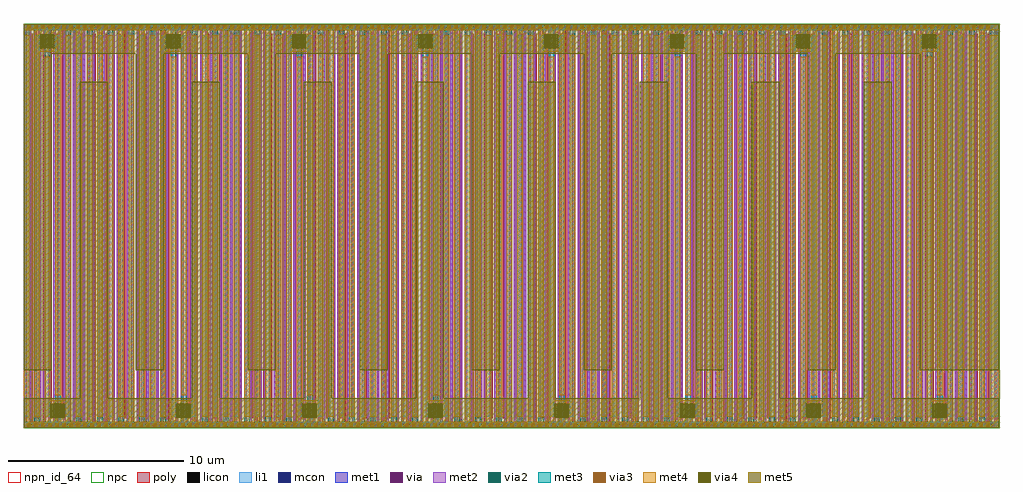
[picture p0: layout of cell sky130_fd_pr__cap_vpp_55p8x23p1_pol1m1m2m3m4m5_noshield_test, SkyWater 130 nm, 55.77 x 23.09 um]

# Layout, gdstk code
import gdstk
lib = gdstk.Library(unit=1e-6, precision=1e-09)
def R(c, l, rs):  # rectangles x0, y0, x1, y1
    for r in rs: c.add(gdstk.rectangle(r[:2], r[2:], *l))
def A(c, l, x, y, w, h, nx, ny, dx, dy):  # array of equal rectangles
    R(c, l, [(x+i*dx, y+j*dy, x+i*dx+w, y+j*dy+h) for i in range(nx) for j in range(ny)])
poly = (66, 20)
licon = (66, 44)
li1 = (67, 20)
mcon = (67, 44)
met1 = (68, 20)
via = (68, 44)
met2 = (69, 20)
via2 = (69, 44)
met3 = (70, 20)
via3 = (70, 44)
met4 = (71, 20)
via4 = (71, 44)
met5 = (72, 20)
npn_id_64 = (82, 64)
npc = (95, 20)

sky130_fd_pr__cap_vpp_55 = lib.new_cell('sky130_fd_pr__cap_vpp_55p8x23p1_pol1m1m2m3m4m5_noshield_test')
A(sky130_fd_pr__cap_vpp_55, poly, 0.36, 0.33, 0.15, 22.18, 77, 1, 0.72, 0)
A(sky130_fd_pr__cap_vpp_55, poly, 0, 0.54, 0.15, 22.18, 77, 1, 0.72, 0)
R(sky130_fd_pr__cap_vpp_55, poly, [(0,0,55.73,0.33), (55.44,0.54,55.73,22.72), (0,22.72,55.73,23.05)])
A(sky130_fd_pr__cap_vpp_55, licon, 0.17, 0.08, 0.17, 0.17, 163, 2, 0.34, 22.72)
A(sky130_fd_pr__cap_vpp_55, li1, 0, 0.33, 0.14, 22.25, 99, 1, 0.56, 0)
A(sky130_fd_pr__cap_vpp_55, li1, 0.28, 0.47, 0.14, 22.25, 99, 1, 0.56, 0)
R(sky130_fd_pr__cap_vpp_55, li1, [(0,0,55.73,0.33), (55.44,0.33,55.73,22.58), (0,22.72,55.73,23.05)])
A(sky130_fd_pr__cap_vpp_55, mcon, 0.19, 0.08, 0.17, 0.17, 154, 2, 0.36, 22.72)
A(sky130_fd_pr__cap_vpp_55, met1, 0.28, 0.33, 0.14, 22.25, 99, 1, 0.56, 0)
A(sky130_fd_pr__cap_vpp_55, met1, 0, 0.47, 0.14, 22.25, 99, 1, 0.56, 0)
R(sky130_fd_pr__cap_vpp_55, met1, [(0,0,55.73,0.33), (55.44,0.47,55.73,22.72), (0,22.72,55.73,23.05)])
R(sky130_fd_pr__cap_vpp_55, via, [(0.175,0.09,0.325,0.24), (0.495,0.09,0.645,0.24), (1.235,0.09,1.385,0.24), (1.555,0.09,1.705,0.24), (2.355,0.09,2.505,0.24), (2.675,0.09,2.825,0.24), (3.475,0.09,3.625,0.24), (3.795,0.09,3.945,0.24), (4.595,0.09,4.745,0.24), (4.915,0.09,5.065,0.24), (5.715,0.09,5.865,0.24), (6.035,0.09,6.185,0.24), (6.835,0.09,6.985,0.24), (7.155,0.09,7.305,0.24), (7.955,0.09,8.105,0.24), (8.275,0.09,8.425,0.24), (9.075,0.09,9.225,0.24), (9.395,0.09,9.545,0.24), (10.195,0.09,10.345,0.24), (10.515,0.09,10.665,0.24), (11.315,0.09,11.465,0.24), (11.635,0.09,11.785,0.24), (12.435,0.09,12.585,0.24), (12.755,0.09,12.905,0.24), (13.555,0.09,13.705,0.24), (13.875,0.09,14.025,0.24), (14.675,0.09,14.825,0.24), (14.995,0.09,15.145,0.24), (15.795,0.09,15.945,0.24), (16.115,0.09,16.265,0.24), (16.915,0.09,17.065,0.24), (17.235,0.09,17.385,0.24), (18.035,0.09,18.185,0.24), (18.355,0.09,18.505,0.24), (19.155,0.09,19.305,0.24), (19.475,0.09,19.625,0.24), (20.275,0.09,20.425,0.24), (20.595,0.09,20.745,0.24), (21.395,0.09,21.545,0.24), (21.715,0.09,21.865,0.24), (22.515,0.09,22.665,0.24), (22.835,0.09,22.985,0.24), (23.635,0.09,23.785,0.24), (23.955,0.09,24.105,0.24), (24.755,0.09,24.905,0.24), (25.075,0.09,25.225,0.24), (25.875,0.09,26.025,0.24), (26.195,0.09,26.345,0.24), (26.995,0.09,27.145,0.24), (27.315,0.09,27.465,0.24), (28.115,0.09,28.265,0.24), (28.435,0.09,28.585,0.24), (29.235,0.09,29.385,0.24), (29.555,0.09,29.705,0.24), (30.355,0.09,30.505,0.24), (30.675,0.09,30.825,0.24), (31.475,0.09,31.625,0.24), (31.795,0.09,31.945,0.24), (32.595,0.09,32.745,0.24), (32.915,0.09,33.065,0.24), (33.715,0.09,33.865,0.24), (34.035,0.09,34.185,0.24), (34.835,0.09,34.985,0.24), (35.155,0.09,35.305,0.24), (35.955,0.09,36.105,0.24), (36.275,0.09,36.425,0.24), (37.075,0.09,37.225,0.24), (37.395,0.09,37.545,0.24), (38.195,0.09,38.345,0.24), (38.515,0.09,38.665,0.24), (39.315,0.09,39.465,0.24), (39.635,0.09,39.785,0.24), (40.435,0.09,40.585,0.24), (40.755,0.09,40.905,0.24), (41.555,0.09,41.705,0.24), (41.875,0.09,42.025,0.24), (42.675,0.09,42.825,0.24), (42.995,0.09,43.145,0.24), (43.795,0.09,43.945,0.24), (44.115,0.09,44.265,0.24), (44.915,0.09,45.065,0.24), (45.235,0.09,45.385,0.24), (46.035,0.09,46.185,0.24), (46.355,0.09,46.505,0.24), (47.155,0.09,47.305,0.24), (47.475,0.09,47.625,0.24), (48.275,0.09,48.425,0.24), (48.595,0.09,48.745,0.24), (49.395,0.09,49.545,0.24), (49.715,0.09,49.865,0.24), (50.515,0.09,50.665,0.24), (50.835,0.09,50.985,0.24), (51.635,0.09,51.785,0.24), (51.955,0.09,52.105,0.24), (52.755,0.09,52.905,0.24), (53.075,0.09,53.225,0.24), (53.875,0.09,54.025,0.24), (54.195,0.09,54.345,0.24), (54.995,0.09,55.145,0.24), (55.315,0.09,55.465,0.24), (0.395,22.81,0.545,22.96), (0.715,22.81,0.865,22.96), (1.515,22.81,1.665,22.96), (1.835,22.81,1.985,22.96), (2.635,22.81,2.785,22.96), (2.955,22.81,3.105,22.96), (3.755,22.81,3.905,22.96), (4.075,22.81,4.225,22.96), (4.875,22.81,5.025,22.96), (5.195,22.81,5.345,22.96), (5.995,22.81,6.145,22.96), (6.315,22.81,6.465,22.96), (7.115,22.81,7.265,22.96), (7.435,22.81,7.585,22.96), (8.235,22.81,8.385,22.96), (8.555,22.81,8.705,22.96), (9.355,22.81,9.505,22.96), (9.675,22.81,9.825,22.96), (10.475,22.81,10.625,22.96), (10.795,22.81,10.945,22.96), (11.595,22.81,11.745,22.96), (11.915,22.81,12.065,22.96), (12.715,22.81,12.865,22.96), (13.035,22.81,13.185,22.96), (13.835,22.81,13.985,22.96), (14.155,22.81,14.305,22.96), (14.955,22.81,15.105,22.96), (15.275,22.81,15.425,22.96), (16.075,22.81,16.225,22.96), (16.395,22.81,16.545,22.96), (17.195,22.81,17.345,22.96), (17.515,22.81,17.665,22.96), (18.315,22.81,18.465,22.96), (18.635,22.81,18.785,22.96), (19.435,22.81,19.585,22.96), (19.755,22.81,19.905,22.96), (20.555,22.81,20.705,22.96), (20.875,22.81,21.025,22.96), (21.675,22.81,21.825,22.96), (21.995,22.81,22.145,22.96), (22.795,22.81,22.945,22.96), (23.115,22.81,23.265,22.96), (23.915,22.81,24.065,22.96), (24.235,22.81,24.385,22.96), (25.035,22.81,25.185,22.96), (25.355,22.81,25.505,22.96), (26.155,22.81,26.305,22.96), (26.475,22.81,26.625,22.96), (27.275,22.81,27.425,22.96), (27.595,22.81,27.745,22.96), (28.395,22.81,28.545,22.96), (28.715,22.81,28.865,22.96), (29.515,22.81,29.665,22.96), (29.835,22.81,29.985,22.96), (30.635,22.81,30.785,22.96), (30.955,22.81,31.105,22.96), (31.755,22.81,31.905,22.96), (32.075,22.81,32.225,22.96), (32.875,22.81,33.025,22.96), (33.195,22.81,33.345,22.96), (33.995,22.81,34.145,22.96), (34.315,22.81,34.465,22.96), (35.115,22.81,35.265,22.96), (35.435,22.81,35.585,22.96), (36.235,22.81,36.385,22.96), (36.555,22.81,36.705,22.96), (37.355,22.81,37.505,22.96), (37.675,22.81,37.825,22.96), (38.475,22.81,38.625,22.96), (38.795,22.81,38.945,22.96), (39.595,22.81,39.745,22.96), (39.915,22.81,40.065,22.96), (40.715,22.81,40.865,22.96), (41.035,22.81,41.185,22.96), (41.835,22.81,41.985,22.96), (42.155,22.81,42.305,22.96), (42.955,22.81,43.105,22.96), (43.275,22.81,43.425,22.96), (44.075,22.81,44.225,22.96), (44.395,22.81,44.545,22.96), (45.195,22.81,45.345,22.96), (45.515,22.81,45.665,22.96), (46.315,22.81,46.465,22.96), (46.635,22.81,46.785,22.96), (47.435,22.81,47.585,22.96), (47.755,22.81,47.905,22.96), (48.555,22.81,48.705,22.96), (48.875,22.81,49.025,22.96), (49.675,22.81,49.825,22.96), (49.995,22.81,50.145,22.96), (50.795,22.81,50.945,22.96), (51.115,22.81,51.265,22.96), (51.915,22.81,52.065,22.96), (52.235,22.81,52.385,22.96), (53.035,22.81,53.185,22.96), (53.355,22.81,53.505,22.96), (54.155,22.81,54.305,22.96), (54.475,22.81,54.625,22.96)])
A(sky130_fd_pr__cap_vpp_55, met2, 0, 0, 0.7, 0.33, 49, 1, 1.12, 0)
A(sky130_fd_pr__cap_vpp_55, met2, 0.84, 0, 0.14, 0.47, 49, 1, 1.12, 0)
A(sky130_fd_pr__cap_vpp_55, met2, 0, 0.33, 0.14, 22.25, 99, 1, 0.56, 0)
A(sky130_fd_pr__cap_vpp_55, met2, 0.28, 0.47, 0.14, 22.25, 99, 1, 0.56, 0)
A(sky130_fd_pr__cap_vpp_55, met2, 0, 22.58, 0.14, 0.47, 49, 1, 1.12, 0)
A(sky130_fd_pr__cap_vpp_55, met2, 0.28, 22.72, 0.7, 0.33, 49, 1, 1.12, 0)
R(sky130_fd_pr__cap_vpp_55, met2, [(54.88,0,55.73,0.33), (55.44,0.33,55.73,22.58), (54.74,22.72,55.73,23.05)])
A(sky130_fd_pr__cap_vpp_55, via2, 0.25, 0.065, 0.2, 0.2, 50, 1, 1.12, 0)
A(sky130_fd_pr__cap_vpp_55, via2, 0.53, 22.785, 0.2, 0.2, 49, 1, 1.12, 0)
A(sky130_fd_pr__cap_vpp_55, met3, 0.6, 0.33, 0.3, 22.09, 46, 1, 1.2, 0)
A(sky130_fd_pr__cap_vpp_55, met3, 0, 0.63, 0.3, 22.09, 46, 1, 1.2, 0)
R(sky130_fd_pr__cap_vpp_55, met3, [(0,0,55.73,0.33), (55.2,0.63,55.73,22.72), (0,22.72,55.73,23.05)])
A(sky130_fd_pr__cap_vpp_55, via3, 0.2, 0.065, 0.2, 0.2, 138, 2, 0.4, 22.72)
A(sky130_fd_pr__cap_vpp_55, met4, 1.2, 0.33, 0.3, 20.865, 8, 1, 7.2, 0)
A(sky130_fd_pr__cap_vpp_55, met4, 1.5, 0.33, 0.9, 0.045, 8, 1, 7.2, 0)
A(sky130_fd_pr__cap_vpp_55, met4, 2.4, 0.33, 0.3, 22.09, 5, 1, 1.2, 0)
A(sky130_fd_pr__cap_vpp_55, met4, 9.6, 0.33, 0.3, 22.09, 5, 1, 1.2, 0)
A(sky130_fd_pr__cap_vpp_55, met4, 16.8, 0.33, 0.3, 22.09, 5, 1, 1.2, 0)
A(sky130_fd_pr__cap_vpp_55, met4, 24, 0.33, 0.3, 22.09, 5, 1, 1.2, 0)
A(sky130_fd_pr__cap_vpp_55, met4, 31.2, 0.33, 0.3, 22.09, 5, 1, 1.2, 0)
A(sky130_fd_pr__cap_vpp_55, met4, 38.4, 0.33, 0.3, 22.09, 5, 1, 1.2, 0)
A(sky130_fd_pr__cap_vpp_55, met4, 45.6, 0.33, 0.3, 22.09, 5, 1, 1.2, 0)
A(sky130_fd_pr__cap_vpp_55, met4, 1.36, 0.375, 1.18, 1.18, 8, 1, 7.2, 0)
A(sky130_fd_pr__cap_vpp_55, met4, 3, 0.63, 0.3, 22.09, 5, 1, 1.2, 0)
A(sky130_fd_pr__cap_vpp_55, met4, 10.2, 0.63, 0.3, 22.09, 5, 1, 1.2, 0)
A(sky130_fd_pr__cap_vpp_55, met4, 17.4, 0.63, 0.3, 22.09, 5, 1, 1.2, 0)
A(sky130_fd_pr__cap_vpp_55, met4, 24.6, 0.63, 0.3, 22.09, 5, 1, 1.2, 0)
A(sky130_fd_pr__cap_vpp_55, met4, 31.8, 0.63, 0.3, 22.09, 5, 1, 1.2, 0)
A(sky130_fd_pr__cap_vpp_55, met4, 39, 0.63, 0.3, 22.09, 5, 1, 1.2, 0)
A(sky130_fd_pr__cap_vpp_55, met4, 46.2, 0.63, 0.3, 22.09, 5, 1, 1.2, 0)
A(sky130_fd_pr__cap_vpp_55, met4, 1.8, 1.855, 0.3, 20.865, 8, 1, 7.2, 0)
A(sky130_fd_pr__cap_vpp_55, met4, 0.76, 21.495, 1.18, 1.18, 8, 1, 7.2, 0)
A(sky130_fd_pr__cap_vpp_55, met4, 0.9, 22.675, 0.9, 0.045, 8, 1, 7.2, 0)
R(sky130_fd_pr__cap_vpp_55, met4, [(0,0,55.73,0.33), (0,0.33,0.3,22.42), (52.8,0.33,53.1,22.42), (54,0.33,54.3,22.42), (55.2,0.33,55.73,22.42), (0.6,0.63,0.9,22.72), (53.4,0.63,53.7,22.72), (54.6,0.63,54.9,22.72), (0,22.72,55.73,23.05)])
A(sky130_fd_pr__cap_vpp_55, via4, 1.55, 0.565, 0.8, 0.8, 8, 1, 7.2, 0)
A(sky130_fd_pr__cap_vpp_55, via4, 0.95, 21.685, 0.8, 0.8, 8, 1, 7.2, 0)
A(sky130_fd_pr__cap_vpp_55, met5, 1.24, 0.255, 1.42, 1.42, 8, 1, 7.2, 0)
A(sky130_fd_pr__cap_vpp_55, met5, 3.2, 1.675, 1.6, 18.1, 8, 1, 6.4, 0)
A(sky130_fd_pr__cap_vpp_55, met5, 0, 3.275, 1.6, 18.1, 8, 1, 6.4, 0)
A(sky130_fd_pr__cap_vpp_55, met5, 0.64, 21.375, 1.42, 1.42, 8, 1, 7.2, 0)
R(sky130_fd_pr__cap_vpp_55, met5, [(0,0,55.73,1.675), (51.2,3.275,55.73,21.375), (0,21.375,55.73,23.05)])
R(sky130_fd_pr__cap_vpp_55, npn_id_64, [(0.17,0.21,55.56,22.84)])
R(sky130_fd_pr__cap_vpp_55, npc, [(-0.02,-0.02,55.75,23.07)])

lib.write_gds('sky130_fd_pr__cap_vpp_55p8x23p1_pol1m1m2m3m4m5_noshield_test.gds')
